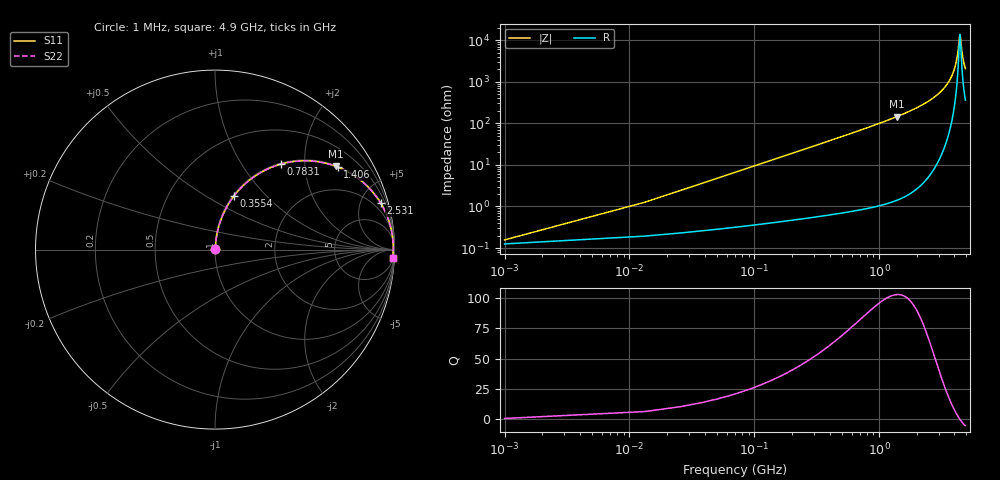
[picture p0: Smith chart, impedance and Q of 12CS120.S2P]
! Coilcraft 1206CS-120 Chip Inductor
! 29 July 2002
# MHZ S MA R 50
!Freq  MagS11  AngS11  MagS21  AngS21  MagS12  AngS12  MagS22  AngS22
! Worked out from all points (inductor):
!   402 points, 1 MHz to 4.9 GHz, reference 50 ohm
!   read as one part in series: L = 15 nH near 25.44 MHz
!   highest Q = 103 at 1.382 GHz (marker M1), where L = 16.6 nH
!   self-resonance near 4.425 GHz
!   S11 on the Smith chart (normalised r, x): 1 MHz: 1.00, +0.00; 355.4 MHz: 1.01, +0.67; 783.1 MHz: 1.02, +1.52; 1.406 GHz: 1.03, +2.95; 2.531 GHz: 1.11, +7.08; 4.9 GHz: 8, -40
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1  0.00157 36.8  0.9987 -0.1  0.9987 -0.1  0.00157 36.8
37.66  0.03548 83.8  0.9968 -2.0  0.9968 -2.0  0.03548 83.8
62.1  0.05834 83.7  0.9953 -3.3  0.9953 -3.3  0.05834 83.7
86.54  0.08112 83.0  0.9933 -4.6  0.9933 -4.6  0.08112 83.0
184.3  0.1707 78.7  0.9809 -9.8  0.9809 -9.8  0.1707 78.7
355.38  0.3178 70.5  0.9426 -18.5  0.9426 -18.5  0.3178 70.5
538.68  0.4555 62.1  0.8839 -27.1  0.8839 -27.1  0.4555 62.1
783.08  0.6027 52.3  0.791 -37.1  0.791 -37.1  0.6027 52.3
819.74  0.6213 50.9  0.7766 -38.4  0.7766 -38.4  0.6213 50.9
1381.86  0.8181 34.5  0.5671 -54.9  0.5671 -54.9  0.8181 34.5
1406.3  0.8238 34.0  0.5589 -55.5  0.5589 -55.5  0.8238 34.0
1638.48  0.8692 29.1  0.4859 -60.4  0.4859 -60.4  0.8692 29.1
2457.22  0.9542 16.6  0.2854 -72.6  0.2854 -72.6  0.9542 16.6
2530.54  0.9584 15.7  0.2708 -73.4  0.2708 -73.4  0.9584 15.7
3275.96  0.9845 8.3  0.1447 -79.7  0.1447 -79.7  0.9845 8.3
3764.76  0.9912 4.5  0.07802 -81.3  0.07802 -81.3  0.9912 4.5
4094.7  0.9928 2.2  0.03827 -78.1  0.03827 -78.1  0.9928 2.2
4241.34  0.993 1.2  0.02204 -70.9  0.02204 -70.9  0.993 1.2
4400.2  0.9928 0.2  0.007967 -25.9  0.007967 -25.9  0.9928 0.2
4436.86  0.9928 -0.0  0.007262 3.5  0.007262 3.5  0.9928 -0.0
4656.82  0.9919 -1.3  0.02468 70.2  0.02468 70.2  0.9919 -1.3
4900  0.9904 -2.7  0.0483 77.2  0.0483 77.2  0.9904 -2.7
